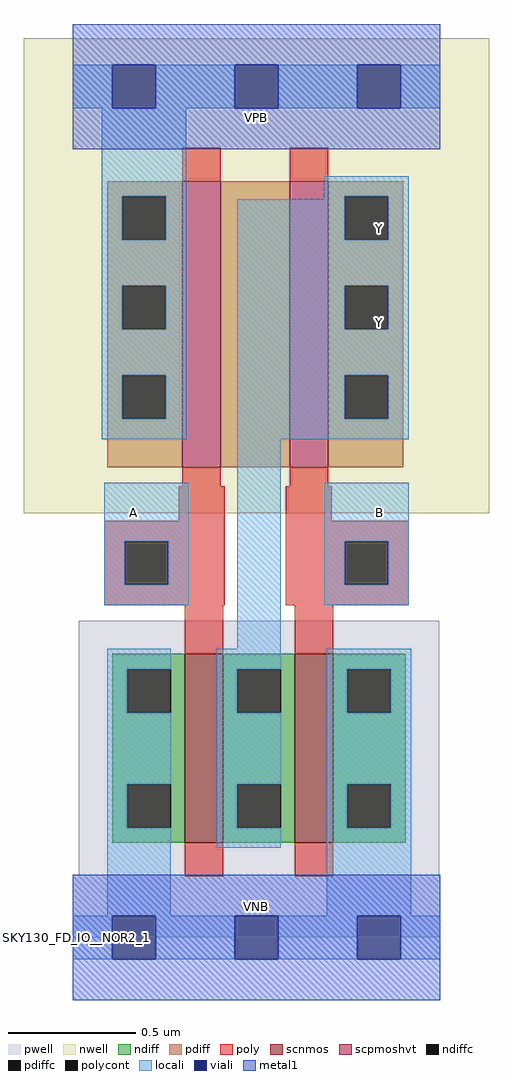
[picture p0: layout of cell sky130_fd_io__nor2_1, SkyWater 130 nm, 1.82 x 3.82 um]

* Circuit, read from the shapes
.subckt sky130_fd_io__nor2_1 VNB VPB VPWR VGND B Y A
XM1 Y A VGND VNB sky130_fd_pr__nfet_01v8 w=0.74 l=0.15
XM2 VGND B Y VNB sky130_fd_pr__nfet_01v8 w=0.74 l=0.15
XM3 n1 A VPWR VPB sky130_fd_pr__pfet_01v8_hvt w=1.12 l=0.15
XM4 Y B n1 VPB sky130_fd_pr__pfet_01v8_hvt w=1.12 l=0.15
.ends

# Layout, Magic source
magic
tech sky130A
magscale 1 2
<< nwell >>
rect -38 332 326 704
<< pwell >>
rect 5 49 287 248
rect 0 0 288 49
<< scnmos >>
rect 88 74 118 222
rect 174 74 204 222
<< scpmoshvt >>
rect 86 368 116 592
rect 170 368 200 592
<< ndiff >>
rect 31 210 88 222
rect 31 176 43 210
rect 77 176 88 210
rect 31 120 88 176
rect 31 86 43 120
rect 77 86 88 120
rect 31 74 88 86
rect 118 210 174 222
rect 118 176 129 210
rect 163 176 174 210
rect 118 120 174 176
rect 118 86 129 120
rect 163 86 174 120
rect 118 74 174 86
rect 204 210 261 222
rect 204 176 215 210
rect 249 176 261 210
rect 204 120 261 176
rect 204 86 215 120
rect 249 86 261 120
rect 204 74 261 86
<< pdiff >>
rect 27 580 86 592
rect 27 546 39 580
rect 73 546 86 580
rect 27 510 86 546
rect 27 476 39 510
rect 73 476 86 510
rect 27 440 86 476
rect 27 406 39 440
rect 73 406 86 440
rect 27 368 86 406
rect 116 368 170 592
rect 200 580 259 592
rect 200 546 213 580
rect 247 546 259 580
rect 200 510 259 546
rect 200 476 213 510
rect 247 476 259 510
rect 200 440 259 476
rect 200 406 213 440
rect 247 406 259 440
rect 200 368 259 406
<< ndiffc >>
rect 43 176 77 210
rect 43 86 77 120
rect 129 176 163 210
rect 129 86 163 120
rect 215 176 249 210
rect 215 86 249 120
<< pdiffc >>
rect 39 546 73 580
rect 39 476 73 510
rect 39 406 73 440
rect 213 546 247 580
rect 213 476 247 510
rect 213 406 247 440
<< poly >>
rect 86 592 116 618
rect 170 592 200 618
rect 86 353 116 368
rect 170 353 200 368
rect 83 326 119 353
rect 25 310 119 326
rect 25 276 41 310
rect 75 276 119 310
rect 25 260 119 276
rect 167 326 203 353
rect 167 310 263 326
rect 167 276 213 310
rect 247 276 263 310
rect 167 260 263 276
rect 88 222 118 260
rect 174 222 204 260
rect 88 48 118 74
rect 174 48 204 74
<< polycont >>
rect 41 276 75 310
rect 213 276 247 310
<< locali >>
rect 0 649 31 683
rect 65 649 127 683
rect 161 649 223 683
rect 257 649 288 683
rect 23 580 89 649
rect 23 546 39 580
rect 73 546 89 580
rect 197 580 263 596
rect 197 578 213 580
rect 23 510 89 546
rect 23 476 39 510
rect 73 476 89 510
rect 23 440 89 476
rect 23 406 39 440
rect 73 406 89 440
rect 23 390 89 406
rect 129 546 213 578
rect 247 546 263 580
rect 129 510 263 546
rect 129 476 213 510
rect 247 476 263 510
rect 129 440 263 476
rect 129 406 213 440
rect 247 406 263 440
rect 129 390 263 406
rect 25 310 91 356
rect 25 276 41 310
rect 75 276 91 310
rect 25 260 91 276
rect 129 226 163 390
rect 197 310 263 356
rect 197 276 213 310
rect 247 276 263 310
rect 197 260 263 276
rect 27 210 77 226
rect 27 176 43 210
rect 27 120 77 176
rect 27 86 43 120
rect 27 17 77 86
rect 113 210 163 226
rect 113 176 129 210
rect 113 120 163 176
rect 113 86 129 120
rect 113 70 163 86
rect 199 210 265 226
rect 199 176 215 210
rect 249 176 265 210
rect 199 120 265 176
rect 199 86 215 120
rect 249 86 265 120
rect 199 17 265 86
rect 0 -17 31 17
rect 65 -17 127 17
rect 161 -17 223 17
rect 257 -17 288 17
<< viali >>
rect 31 649 65 683
rect 127 649 161 683
rect 223 649 257 683
rect 31 -17 65 17
rect 127 -17 161 17
rect 223 -17 257 17
<< metal1 >>
rect 0 683 288 715
rect 0 649 31 683
rect 65 649 127 683
rect 161 649 223 683
rect 257 649 288 683
rect 0 617 288 649
rect 0 17 288 49
rect 0 -17 31 17
rect 65 -17 127 17
rect 161 -17 223 17
rect 257 -17 288 17
rect 0 -49 288 -17
<< labels >>
rlabel comment s 0 0 0 0 4 SKY130_FD_IO__NOR2_1
flabel pwell s 0 0 288 49 0 FreeSans 200 0 0 0 VNB
port 1 nsew
flabel nwell s 0 617 288 666 0 FreeSans 200 0 0 0 VPB
port 2 nsew
flabel metal1 s 0 617 288 666 0 FreeSans 340 0 0 0 VPWR
port 3 nsew
flabel metal1 s 0 0 288 49 0 FreeSans 340 0 0 0 VGND
port 4 nsew
flabel locali s 223 316 257 350 0 FreeSans 340 0 0 0 B
port 5 nsew
flabel locali s 223 464 257 498 0 FreeSans 340 0 0 0 Y
port 6 nsew
flabel locali s 223 538 257 572 0 FreeSans 340 0 0 0 Y
port 6 nsew
flabel locali s 31 316 65 350 0 FreeSans 340 0 0 0 A
port 7 nsew
<< properties >>
string FIXED_BBOX 0 0 288 666
string GDS_FILE $PDKPATH/libs.ref/sky130_fd_io/gds/sky130_ef_io__gpiov2_pad_wrapped.gds
string GDS_END 344916
string GDS_START 341138
<< end >>
